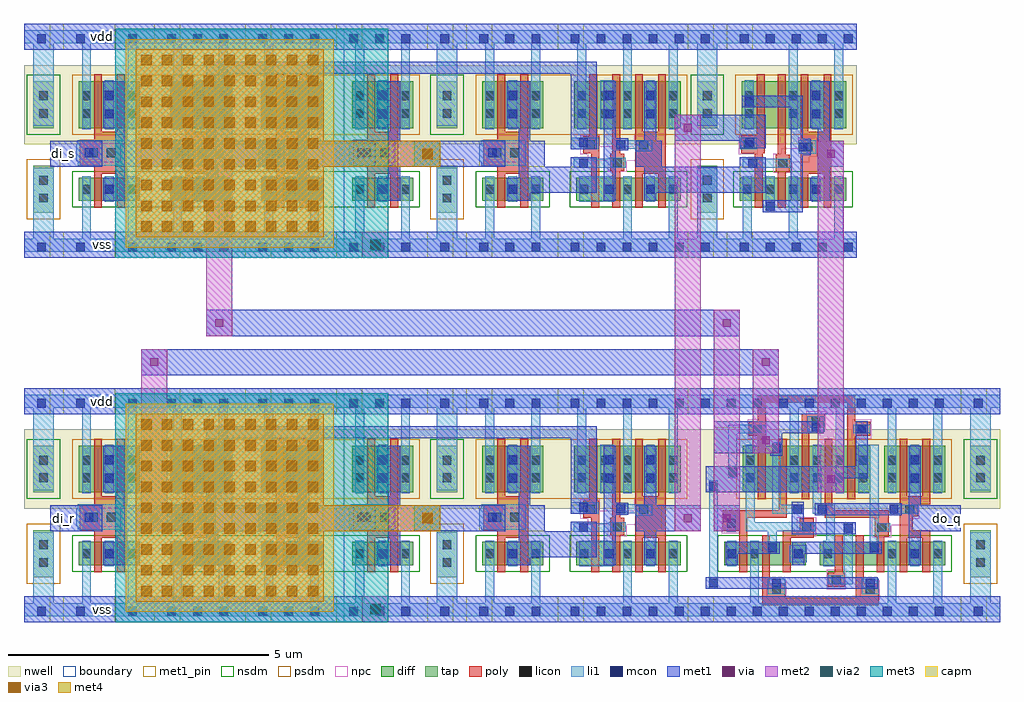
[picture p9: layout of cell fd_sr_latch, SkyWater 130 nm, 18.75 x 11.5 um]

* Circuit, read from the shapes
.subckt fd_sr_latch di_r di_s do_q vdd vss
XM1 sc_dff_r_15/rst_b di_r vss vss sky130_fd_pr__nfet_01v8 w=0.45 l=0.15 m=2
XM2 sc_not_6/x di_s vss vss sky130_fd_pr__nfet_01v8 w=0.45 l=0.15 m=2
XM3 sc_and2_8/a sc_dff_r_15/rst_b vss vss sky130_fd_pr__nfet_01v8 w=0.45 l=0.15 m=2
XM4 sc_and2_2/a sc_not_6/x vss vss sky130_fd_pr__nfet_01v8 w=0.45 l=0.15 m=2
XM5 sc_not_10/x sc_and2_8/a vss vss sky130_fd_pr__nfet_01v8 w=0.45 l=0.15 m=2
XM6 sc_not_4/x sc_and2_2/a vss vss sky130_fd_pr__nfet_01v8 w=0.45 l=0.15 m=2
XM7 sky130_fd_pr__cap_mim_m3_1_fd_sr_latch_c1_1/C1 sc_not_10/x vss vss sky130_fd_pr__nfet_01v8 w=0.45 l=0.15 m=2
XM8 sky130_fd_pr__cap_mim_m3_1_fd_sr_latch_c2_0/C1 sc_not_4/x vss vss sky130_fd_pr__nfet_01v8 w=0.45 l=0.15 m=2
XM9 sc_and2_8/b sky130_fd_pr__cap_mim_m3_1_fd_sr_latch_c1_1/C1 vss vss sky130_fd_pr__nfet_01v8 w=0.45 l=0.15 m=2
XM10 sc_and2_2/b sky130_fd_pr__cap_mim_m3_1_fd_sr_latch_c2_0/C1 vss vss sky130_fd_pr__nfet_01v8 w=0.45 l=0.15 m=2
XM11 sc_and2_8/sky130_fd_pr__nfet_01v8_sc_and2_m4_2/D sc_and2_8/a sc_and2_8/sky130_fd_pr__nfet_01v8_sc_and2_m3_3/D vss sky130_fd_pr__nfet_01v8 w=0.45 l=0.15
XM12 sc_and2_2/sky130_fd_pr__nfet_01v8_sc_and2_m4_2/D sc_and2_2/a sc_and2_2/sky130_fd_pr__nfet_01v8_sc_and2_m3_3/D vss sky130_fd_pr__nfet_01v8 w=0.45 l=0.15
XM13 vss sc_and2_8/b sc_and2_8/sky130_fd_pr__nfet_01v8_sc_and2_m4_2/D vss sky130_fd_pr__nfet_01v8 w=0.45 l=0.15
XM14 vss sc_and2_2/b sc_and2_2/sky130_fd_pr__nfet_01v8_sc_and2_m4_2/D vss sky130_fd_pr__nfet_01v8 w=0.45 l=0.15
XM15 sc_or2_14/a sc_and2_8/sky130_fd_pr__nfet_01v8_sc_and2_m3_3/D vss vss sky130_fd_pr__nfet_01v8 w=0.45 l=0.15 m=2
XM16 sc_or2_14/b sc_and2_2/sky130_fd_pr__nfet_01v8_sc_and2_m3_3/D vss vss sky130_fd_pr__nfet_01v8 w=0.45 l=0.15 m=2
XM17 vss sc_and2_2/a sc_dff_r_15/sky130_fd_pr__nfet_01v8_sc_dff_r_m3_10/D vss sky130_fd_pr__nfet_01v8 w=0.45 l=0.15
XM18 sc_or2_14/sky130_fd_pr__nfet_01v8_sc_or2_m3_3/D sc_or2_14/a vss vss sky130_fd_pr__nfet_01v8 w=0.45 l=0.15
XM19 n1 sc_dff_r_15/clk vss vss sky130_fd_pr__nfet_01v8 w=0.45 l=0.15
XM20 vss sc_or2_14/b sc_or2_14/sky130_fd_pr__nfet_01v8_sc_or2_m3_3/D vss sky130_fd_pr__nfet_01v8 w=0.45 l=0.15
XM21 sc_dff_r_15/sky130_fd_pr__nfet_01v8_sc_dff_r_m5_8/D sc_dff_r_15/sky130_fd_pr__nfet_01v8_sc_dff_r_m3_10/D n1 vss sky130_fd_pr__nfet_01v8 w=0.45 l=0.15
XM22 sc_dff_r_15/clk sc_or2_14/sky130_fd_pr__nfet_01v8_sc_or2_m3_3/D vss vss sky130_fd_pr__nfet_01v8 w=0.45 l=0.15 m=2
XM23 sc_dff_r_15/sky130_fd_pr__nfet_01v8_sc_dff_r_m8_5/D sc_dff_r_15/rst_b sc_dff_r_15/sky130_fd_pr__nfet_01v8_sc_dff_r_m13_0/D vss sky130_fd_pr__nfet_01v8 w=0.45 l=0.15
XM24 sc_dff_r_15/sky130_fd_pr__nfet_01v8_sc_dff_r_m9_4/D sc_dff_r_15/clk sc_dff_r_15/sky130_fd_pr__nfet_01v8_sc_dff_r_m8_5/D vss sky130_fd_pr__nfet_01v8 w=0.45 l=0.15
XM25 vss sc_dff_r_15/sky130_fd_pr__nfet_01v8_sc_dff_r_m5_8/D sc_dff_r_15/sky130_fd_pr__nfet_01v8_sc_dff_r_m9_4/D vss sky130_fd_pr__nfet_01v8 w=0.45 l=0.15
XM26 do_q sc_dff_r_15/sky130_fd_pr__nfet_01v8_sc_dff_r_m13_0/D vss vss sky130_fd_pr__nfet_01v8 w=0.45 l=0.15 m=2
XM27 sc_dff_r_15/rst_b di_r vdd vdd sky130_fd_pr__pfet_01v8 w=0.9 l=0.15 m=2
XM28 sc_not_6/x di_s vdd vdd sky130_fd_pr__pfet_01v8 w=0.9 l=0.15 m=2
XM29 sc_and2_8/a sc_dff_r_15/rst_b vdd vdd sky130_fd_pr__pfet_01v8 w=0.9 l=0.15 m=2
XM30 sc_and2_2/a sc_not_6/x vdd vdd sky130_fd_pr__pfet_01v8 w=0.9 l=0.15 m=2
XM31 sc_not_10/x sc_and2_8/a vdd vdd sky130_fd_pr__pfet_01v8 w=0.9 l=0.15 m=2
XM32 sc_not_4/x sc_and2_2/a vdd vdd sky130_fd_pr__pfet_01v8 w=0.9 l=0.15 m=2
XM33 sky130_fd_pr__cap_mim_m3_1_fd_sr_latch_c1_1/C1 sc_not_10/x vdd vdd sky130_fd_pr__pfet_01v8 w=0.9 l=0.15 m=2
XM34 sky130_fd_pr__cap_mim_m3_1_fd_sr_latch_c2_0/C1 sc_not_4/x vdd vdd sky130_fd_pr__pfet_01v8 w=0.9 l=0.15 m=2
XM35 sc_and2_8/b sky130_fd_pr__cap_mim_m3_1_fd_sr_latch_c1_1/C1 vdd vdd sky130_fd_pr__pfet_01v8 w=0.9 l=0.15 m=2
XM36 sc_and2_2/b sky130_fd_pr__cap_mim_m3_1_fd_sr_latch_c2_0/C1 vdd vdd sky130_fd_pr__pfet_01v8 w=0.9 l=0.15 m=2
XM37 sc_and2_8/sky130_fd_pr__nfet_01v8_sc_and2_m3_3/D sc_and2_8/a vdd vdd sky130_fd_pr__pfet_01v8 w=0.9 l=0.15
XM38 sc_and2_2/sky130_fd_pr__nfet_01v8_sc_and2_m3_3/D sc_and2_2/a vdd vdd sky130_fd_pr__pfet_01v8 w=0.9 l=0.15
XM39 vdd sc_and2_8/b sc_and2_8/sky130_fd_pr__nfet_01v8_sc_and2_m3_3/D vdd sky130_fd_pr__pfet_01v8 w=0.9 l=0.15
XM40 vdd sc_and2_2/b sc_and2_2/sky130_fd_pr__nfet_01v8_sc_and2_m3_3/D vdd sky130_fd_pr__pfet_01v8 w=0.9 l=0.15
XM41 sc_or2_14/a sc_and2_8/sky130_fd_pr__nfet_01v8_sc_and2_m3_3/D vdd vdd sky130_fd_pr__pfet_01v8 w=0.9 l=0.15 m=2
XM42 sc_or2_14/b sc_and2_2/sky130_fd_pr__nfet_01v8_sc_and2_m3_3/D vdd vdd sky130_fd_pr__pfet_01v8 w=0.9 l=0.15 m=2
XM43 sc_or2_14/sky130_fd_pr__pfet_01v8_sc_or2_m1_5/D sc_or2_14/a sc_or2_14/sky130_fd_pr__nfet_01v8_sc_or2_m3_3/D vdd sky130_fd_pr__pfet_01v8 w=0.9 l=0.15
XM44 sc_dff_r_15/sky130_fd_pr__pfet_01v8_sc_dff_r_m1_12/D sc_dff_r_15/clk sc_dff_r_15/sky130_fd_pr__nfet_01v8_sc_dff_r_m3_10/D vdd sky130_fd_pr__pfet_01v8 w=0.9 l=0.15
XM45 vdd sc_or2_14/b sc_or2_14/sky130_fd_pr__pfet_01v8_sc_or2_m1_5/D vdd sky130_fd_pr__pfet_01v8 w=0.9 l=0.15
XM46 vdd sc_and2_2/a sc_dff_r_15/sky130_fd_pr__pfet_01v8_sc_dff_r_m1_12/D vdd sky130_fd_pr__pfet_01v8 w=0.9 l=0.15
XM47 sc_dff_r_15/clk sc_or2_14/sky130_fd_pr__nfet_01v8_sc_or2_m3_3/D vdd vdd sky130_fd_pr__pfet_01v8 w=0.9 l=0.15 m=2
XM48 sc_dff_r_15/sky130_fd_pr__nfet_01v8_sc_dff_r_m13_0/D sc_dff_r_15/rst_b vdd vdd sky130_fd_pr__pfet_01v8 w=0.9 l=0.15
XM49 vdd sc_dff_r_15/sky130_fd_pr__nfet_01v8_sc_dff_r_m5_8/D sc_dff_r_15/sky130_fd_pr__nfet_01v8_sc_dff_r_m13_0/D vdd sky130_fd_pr__pfet_01v8 w=0.9 l=0.15
XM50 sc_dff_r_15/sky130_fd_pr__nfet_01v8_sc_dff_r_m5_8/D sc_dff_r_15/clk vdd vdd sky130_fd_pr__pfet_01v8 w=0.9 l=0.15
XM51 do_q sc_dff_r_15/sky130_fd_pr__nfet_01v8_sc_dff_r_m13_0/D vdd vdd sky130_fd_pr__pfet_01v8 w=0.9 l=0.15 m=2
XC52 sky130_fd_pr__cap_mim_m3_1_fd_sr_latch_c1_1/C1 vss sky130_fd_pr__cap_mim_m3_1 w=4 l=4
XC53 sky130_fd_pr__cap_mim_m3_1_fd_sr_latch_c2_0/C1 vss sky130_fd_pr__cap_mim_m3_1 w=4 l=4
.ends

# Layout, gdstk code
from math import pi, radians
import gdstk
lib = gdstk.Library(unit=1e-6, precision=1e-09)
def R(c, l, rs):  # rectangles x0, y0, x1, y1
    for r in rs: c.add(gdstk.rectangle(r[:2], r[2:], *l))
def A(c, l, x, y, w, h, nx, ny, dx, dy):  # array of equal rectangles
    R(c, l, [(x+i*dx, y+j*dy, x+i*dx+w, y+j*dy+h) for i in range(nx) for j in range(ny)])
nwell = (64, 20)
diff = (65, 20)
tap = (65, 44)
poly = (66, 20)
licon = (66, 44)
li1 = (67, 20)
mcon = (67, 44)
met1_pin = (68, 16)
met1 = (68, 20)
via = (68, 44)
met2 = (69, 20)
via2 = (69, 44)
met3 = (70, 20)
via3 = (70, 44)
met4 = (71, 20)
capm = (89, 44)
nsdm = (93, 44)
psdm = (94, 20)
npc = (95, 20)
boundary = (235, 4)

sky130_fd_pr__cap_mim_m3 = lib.new_cell('sky130_fd_pr__cap_mim_m3_1_fd_sr_latch_c2')
R(sky130_fd_pr__cap_mim_m3, met3, [(-3.08,-2.2,2.17,2.2)])
A(sky130_fd_pr__cap_mim_m3, via3, -2.58, -1.7, 0.2, 0.2, 9, 9, 0.4, 0.4)
R(sky130_fd_pr__cap_mim_m3, met4, [(-2.685,-1.805,0.925,1.805)])
R(sky130_fd_pr__cap_mim_m3, capm, [(-2.88,-2,1.12,2)])
R(sky130_fd_pr__cap_mim_m3, boundary, [(-3.08,-2.2,1.32,2.2)])
sky130_fd_pr__cap_mim_m3.add(gdstk.Label('C1', (-0.88,0), layer=71, texttype=5))

c_sky130_fd_pr__cap_mim_m3 = lib.new_cell('sky130_fd_pr__cap_mim_m3_1_fd_sr_latch_c1')
R(c_sky130_fd_pr__cap_mim_m3, met3, [(-3.08,-2.2,2.17,2.2)])
A(c_sky130_fd_pr__cap_mim_m3, via3, -2.58, -1.7, 0.2, 0.2, 9, 9, 0.4, 0.4)
R(c_sky130_fd_pr__cap_mim_m3, met4, [(-2.685,-1.805,0.925,1.805)])
R(c_sky130_fd_pr__cap_mim_m3, capm, [(-2.88,-2,1.12,2)])
R(c_sky130_fd_pr__cap_mim_m3, boundary, [(-3.08,-2.2,1.32,2.2)])
c_sky130_fd_pr__cap_mim_m3.add(gdstk.Label('C1', (-0.88,0), layer=71, texttype=5))

sky130_fd_pr__nfet_01v8_ = lib.new_cell('sky130_fd_pr__nfet_01v8_scc_inv_m2')
R(sky130_fd_pr__nfet_01v8_, diff, [(7.265,-4.22,8.435,-3.77)])
R(sky130_fd_pr__nfet_01v8_, poly, [(7.555,-4.35,7.705,-3.695), (7.995,-4.35,8.145,-3.695), (7.555,-3.695,8.145,-3.545)])
A(sky130_fd_pr__nfet_01v8_, licon, 7.325, -4.08, 0.17, 0.17, 3, 1, 0.44, 0)
A(sky130_fd_pr__nfet_01v8_, li1, 7.325, -4.24, 0.17, 0.49, 3, 1, 0.44, 0)
R(sky130_fd_pr__nfet_01v8_, mcon, [(7.765,-4.08,7.935,-3.91)])
R(sky130_fd_pr__nfet_01v8_, met1, [(7.735,-4.22,7.965,-3.77)])
R(sky130_fd_pr__nfet_01v8_, nsdm, [(7.14,-4.345,8.56,-3.645)])
sky130_fd_pr__nfet_01v8_.add(gdstk.Label('D0', (7.85,-3.995), layer=67, texttype=5))
sky130_fd_pr__nfet_01v8_.add(gdstk.Label('S0', (7.41,-3.995), layer=67, texttype=5))
sky130_fd_pr__nfet_01v8_.add(gdstk.Label('D1', (7.85,-3.995), layer=67, texttype=5))
sky130_fd_pr__nfet_01v8_.add(gdstk.Label('S1', (8.29,-3.995), layer=67, texttype=5))

sky130_fd_pr__pfet_01v8_ = lib.new_cell('sky130_fd_pr__pfet_01v8_scc_inv_m1')
R(sky130_fd_pr__pfet_01v8_, nwell, [(6.85,-4.65,8.38,-3.13)])
R(sky130_fd_pr__pfet_01v8_, diff, [(7.03,-4.34,8.2,-3.44)])
R(sky130_fd_pr__pfet_01v8_, poly, [(7.32,-4.565,7.91,-4.415), (7.32,-4.415,7.47,-3.31), (7.76,-4.415,7.91,-3.31)])
A(sky130_fd_pr__pfet_01v8_, licon, 7.09, -4.145, 0.17, 0.17, 3, 2, 0.44, 0.34)
A(sky130_fd_pr__pfet_01v8_, li1, 7.09, -4.36, 0.17, 0.94, 3, 1, 0.44, 0)
R(sky130_fd_pr__pfet_01v8_, mcon, [(7.53,-4.155,7.7,-3.985), (7.53,-3.795,7.7,-3.625)])
R(sky130_fd_pr__pfet_01v8_, met1, [(7.5,-4.34,7.73,-3.44)])
R(sky130_fd_pr__pfet_01v8_, psdm, [(6.905,-4.465,8.325,-3.315)])
sky130_fd_pr__pfet_01v8_.add(gdstk.Label('D0', (7.615,-3.89), layer=67, texttype=5))
sky130_fd_pr__pfet_01v8_.add(gdstk.Label('S0', (7.175,-3.89), layer=67, texttype=5))
sky130_fd_pr__pfet_01v8_.add(gdstk.Label('D1', (7.615,-3.89), layer=67, texttype=5))
sky130_fd_pr__pfet_01v8_.add(gdstk.Label('S1', (8.055,-3.89), layer=67, texttype=5))

c_sky130_fd_pr__nfet_01v8_ = lib.new_cell('sky130_fd_pr__nfet_01v8_sc_and2_m4')
R(c_sky130_fd_pr__nfet_01v8_, diff, [(-0.325,-0.225,0.365,0.225)])
R(c_sky130_fd_pr__nfet_01v8_, poly, [(-0.075,-0.355,0.075,0.355)])
R(c_sky130_fd_pr__nfet_01v8_, licon, [(0.135,-0.085,0.305,0.085)])
R(c_sky130_fd_pr__nfet_01v8_, li1, [(0.135,-0.245,0.305,0.245)])
R(c_sky130_fd_pr__nfet_01v8_, nsdm, [(-0.45,-0.35,0.49,0.35)])
c_sky130_fd_pr__nfet_01v8_.add(gdstk.Label('D', (-0.22,0), layer=65, texttype=6))
c_sky130_fd_pr__nfet_01v8_.add(gdstk.Label('S', (0.22,0), layer=67, texttype=5))

c_sky130_fd_pr__nfet_01v8__ = lib.new_cell('sky130_fd_pr__nfet_01v8_sc_and2_m3')
R(c_sky130_fd_pr__nfet_01v8__, diff, [(-0.365,-0.225,0.325,0.225)])
R(c_sky130_fd_pr__nfet_01v8__, poly, [(-0.075,-0.355,0.075,0.355)])
R(c_sky130_fd_pr__nfet_01v8__, licon, [(-0.305,-0.085,-0.135,0.085)])
R(c_sky130_fd_pr__nfet_01v8__, li1, [(-0.305,-0.245,-0.135,0.245)])
R(c_sky130_fd_pr__nfet_01v8__, nsdm, [(-0.49,-0.35,0.45,0.35)])
c_sky130_fd_pr__nfet_01v8__.add(gdstk.Label('D', (-0.22,0), layer=67, texttype=5))
c_sky130_fd_pr__nfet_01v8__.add(gdstk.Label('S', (0.22,0), layer=65, texttype=6))

c_sky130_fd_pr__pfet_01v8_ = lib.new_cell('sky130_fd_pr__pfet_01v8_sc_and2_m2')
R(c_sky130_fd_pr__pfet_01v8_, nwell, [(-0.545,-0.76,0.545,0.76)])
R(c_sky130_fd_pr__pfet_01v8_, diff, [(-0.365,-0.45,0.365,0.45)])
R(c_sky130_fd_pr__pfet_01v8_, poly, [(-0.075,-0.58,0.075,0.58)])
R(c_sky130_fd_pr__pfet_01v8_, licon, [(-0.305,-0.255,-0.135,-0.085), (0.135,-0.255,0.305,-0.085), (-0.305,0.085,-0.135,0.255), (0.135,0.085,0.305,0.255)])
R(c_sky130_fd_pr__pfet_01v8_, li1, [(-0.305,-0.47,-0.135,0.47), (0.135,-0.47,0.305,0.47)])
R(c_sky130_fd_pr__pfet_01v8_, psdm, [(-0.49,-0.575,0.49,0.575)])
c_sky130_fd_pr__pfet_01v8_.add(gdstk.Label('D', (-0.22,0), layer=67, texttype=5))
c_sky130_fd_pr__pfet_01v8_.add(gdstk.Label('S', (0.22,0), layer=67, texttype=5))

c_sky130_fd_pr__pfet_01v8__ = lib.new_cell('sky130_fd_pr__pfet_01v8_sc_and2_m1')
R(c_sky130_fd_pr__pfet_01v8__, nwell, [(-0.545,-0.76,0.545,0.76)])
R(c_sky130_fd_pr__pfet_01v8__, diff, [(-0.365,-0.45,0.365,0.45)])
R(c_sky130_fd_pr__pfet_01v8__, poly, [(-0.075,-0.58,0.075,0.58)])
R(c_sky130_fd_pr__pfet_01v8__, licon, [(-0.305,-0.255,-0.135,-0.085), (0.135,-0.255,0.305,-0.085), (-0.305,0.085,-0.135,0.255), (0.135,0.085,0.305,0.255)])
R(c_sky130_fd_pr__pfet_01v8__, li1, [(-0.305,-0.47,-0.135,0.47), (0.135,-0.47,0.305,0.47)])
R(c_sky130_fd_pr__pfet_01v8__, psdm, [(-0.49,-0.575,0.49,0.575)])
c_sky130_fd_pr__pfet_01v8__.add(gdstk.Label('D', (-0.22,0), layer=67, texttype=5))
c_sky130_fd_pr__pfet_01v8__.add(gdstk.Label('S', (0.22,0), layer=67, texttype=5))

sc_and2 = lib.new_cell('sc_and2')
R(sc_and2, nwell, [(4.5,-5.815,7,-4.295)])
R(sc_and2, poly, [(5.15,-6.325,5.3,-5.99), (5.51,-6.325,5.78,-5.995), (5.99,-6.23,6.58,-5.73), (5.55,-5.995,5.7,-5.635), (4.99,-5.99,5.3,-5.66), (5.11,-5.66,5.26,-5.635)])
R(sc_and2, licon, [(5.56,-6.245,5.73,-6.075), (5.04,-5.91,5.21,-5.74), (6.07,-5.91,6.24,-5.74)])
A(sc_and2, li1, 4.88, -4.585, 0.17, 0.71, 3, 1, 0.88, 0)
R(sc_and2, li1, [(4.5,-7.885,7,-7.635), (5.76,-7.635,5.93,-6.925), (6.64,-7.635,6.81,-6.925), (5.09,-6.925,5.59,-6.435), (4.81,-6.265,5.81,-6.095), (5.48,-6.095,5.81,-6.075), (5.99,-5.95,6.32,-5.905), (4.75,-5.91,5.29,-5.695), (5.63,-5.905,6.32,-5.735), (5.49,-5.525,5.59,-5.445), (5.42,-5.445,5.59,-4.665), (5.49,-4.665,5.59,-4.585), (4.5,-3.875,7,-3.625)])
A(sc_and2, mcon, 4.75, -7.875, 0.17, 0.17, 5, 2, 0.5, 4)
R(sc_and2, mcon, [(5.42,-6.765,5.59,-6.595), (4.915,-6.265,5.085,-6.095), (5.63,-5.905,5.8,-5.735), (4.915,-5.875,5.085,-5.705), (5.42,-5.32,5.59,-5.15), (5.42,-4.96,5.59,-4.79)])
R(sc_and2, met1_pin, [(4.5,-8,5,-7.5), (4.75,-6.75,5.25,-6.25), (6,-6.25,6.5,-5.75), (4.75,-5.75,5.25,-5.25), (4.5,-4,5,-3.5)])
R(sc_and2, met1, [(4.5,-8,7,-7.5), (5.39,-6.905,5.62,-5.935), (4.75,-6.75,5.25,-6.065), (6.17,-6.455,6.4,-6.25), (6,-6.25,6.5,-5.75), (5.39,-5.935,5.86,-5.705), (4.75,-5.91,5.25,-5.25), (6.17,-5.75,6.4,-5.505), (5.39,-5.705,5.62,-4.605), (4.5,-4,7,-3.5)])
R(sc_and2, npc, [(5.46,-6.345,5.83,-6.13), (5.085,-6.13,6.195,-6.01), (4.94,-6.01,6.34,-5.855), (4.94,-5.855,5.31,-5.64), (5.97,-5.855,6.34,-5.64)])
sc_and2.add(gdstk.Reference(sky130_fd_pr__nfet_01v8_, (-1.565,-2.685)))
sc_and2.add(gdstk.Reference(sky130_fd_pr__pfet_01v8_, (-1.33,-1.165)))
sc_and2.add(gdstk.Reference(c_sky130_fd_pr__nfet_01v8_, (5.625,-6.68)))
sc_and2.add(gdstk.Reference(c_sky130_fd_pr__nfet_01v8__, (5.225,-6.68)))
sc_and2.add(gdstk.Reference(c_sky130_fd_pr__pfet_01v8_, (5.625,-5.055)))
sc_and2.add(gdstk.Reference(c_sky130_fd_pr__pfet_01v8__, (5.185,-5.055), rotation=pi))
sc_and2.add(gdstk.Label('a', (5,-5.5), layer=68, texttype=5))
sc_and2.add(gdstk.Label('b', (5,-6.5), layer=68, texttype=5))
sc_and2.add(gdstk.Label('y', (6.25,-6), layer=68, texttype=5))
sc_and2.add(gdstk.Label('vdd', (4.75,-3.75), layer=68, texttype=5))
sc_and2.add(gdstk.Label('vss', (4.75,-7.75), layer=68, texttype=5))

sc_not = lib.new_cell('sc_not')
R(sc_not, nwell, [(2.75,-3.815,4.5,-2.295)])
R(sc_not, poly, [(3.075,-4.23,3.935,-3.73)])
R(sc_not, licon, [(3.25,-4.065,3.42,-3.895), (3.59,-4.065,3.76,-3.895)])
R(sc_not, li1, [(2.75,-5.885,4.5,-5.635), (3.115,-5.635,3.285,-4.925), (3.995,-5.635,4.165,-4.925), (3.03,-4.225,3.885,-4.145), (3,-4.145,3.885,-3.815), (3.03,-3.815,3.885,-3.735), (3.115,-2.585,3.285,-1.875), (3.995,-2.585,4.165,-1.875), (2.75,-1.875,4.5,-1.625)])
A(sc_not, mcon, 3, -5.875, 0.17, 0.17, 3, 2, 0.5, 4)
R(sc_not, mcon, [(3.165,-4.065,3.335,-3.895)])
R(sc_not, met1_pin, [(2.75,-6,3.25,-5.5), (3,-4.25,3.5,-3.75), (3.75,-4.25,4.25,-3.75), (2.75,-2,3.25,-1.5)])
R(sc_not, met1, [(2.75,-6,4.5,-5.5), (3.75,-4.905,3.98,-4.25), (3,-4.25,3.5,-3.75), (3.75,-4.25,4.25,-3.75), (3.75,-3.75,3.98,-2.605), (2.75,-2,4.5,-1.5)])
R(sc_not, npc, [(3.15,-4.165,3.86,-3.795)])
sc_not.add(gdstk.Reference(sky130_fd_pr__pfet_01v8_, (-3.975,0.835)))
sc_not.add(gdstk.Reference(sky130_fd_pr__nfet_01v8_, (-4.21,-0.685)))
sc_not.add(gdstk.Label('vdd', (3,-1.75), layer=68, texttype=5))
sc_not.add(gdstk.Label('vss', (3,-5.75), layer=68, texttype=5))
sc_not.add(gdstk.Label('x', (3.25,-4), layer=68, texttype=5))
sc_not.add(gdstk.Label('y', (4,-4), layer=68, texttype=5))

c_sky130_fd_pr__nfet_01v8___ = lib.new_cell('sky130_fd_pr__nfet_01v8_sc_or2_m4')
R(c_sky130_fd_pr__nfet_01v8___, diff, [(-0.365,-0.225,0.365,0.225)])
R(c_sky130_fd_pr__nfet_01v8___, poly, [(-0.075,-0.355,0.075,0.355)])
R(c_sky130_fd_pr__nfet_01v8___, licon, [(-0.305,-0.085,-0.135,0.085), (0.135,-0.085,0.305,0.085)])
R(c_sky130_fd_pr__nfet_01v8___, li1, [(-0.305,-0.245,-0.135,0.245), (0.135,-0.245,0.305,0.245)])
R(c_sky130_fd_pr__nfet_01v8___, nsdm, [(-0.49,-0.35,0.49,0.35)])
c_sky130_fd_pr__nfet_01v8___.add(gdstk.Label('D', (-0.22,0), layer=67, texttype=5))
c_sky130_fd_pr__nfet_01v8___.add(gdstk.Label('S', (0.22,0), layer=67, texttype=5))

c_sky130_fd_pr__nfet_01v8____ = lib.new_cell('sky130_fd_pr__nfet_01v8_sc_or2_m3')
R(c_sky130_fd_pr__nfet_01v8____, diff, [(-0.365,-0.225,0.365,0.225)])
R(c_sky130_fd_pr__nfet_01v8____, poly, [(-0.075,-0.355,0.075,0.355)])
R(c_sky130_fd_pr__nfet_01v8____, licon, [(-0.305,-0.085,-0.135,0.085), (0.135,-0.085,0.305,0.085)])
R(c_sky130_fd_pr__nfet_01v8____, li1, [(-0.305,-0.245,-0.135,0.245), (0.135,-0.245,0.305,0.245)])
R(c_sky130_fd_pr__nfet_01v8____, nsdm, [(-0.49,-0.35,0.49,0.35)])
c_sky130_fd_pr__nfet_01v8____.add(gdstk.Label('D', (-0.22,0), layer=67, texttype=5))
c_sky130_fd_pr__nfet_01v8____.add(gdstk.Label('S', (0.22,0), layer=67, texttype=5))

c_sky130_fd_pr__pfet_01v8___ = lib.new_cell('sky130_fd_pr__pfet_01v8_sc_or2_m2')
R(c_sky130_fd_pr__pfet_01v8___, nwell, [(-0.545,-0.76,0.505,0.76)])
R(c_sky130_fd_pr__pfet_01v8___, diff, [(-0.365,-0.45,0.325,0.45)])
R(c_sky130_fd_pr__pfet_01v8___, poly, [(-0.075,-0.58,0.075,0.58)])
R(c_sky130_fd_pr__pfet_01v8___, licon, [(-0.305,-0.255,-0.135,-0.085), (-0.305,0.085,-0.135,0.255)])
R(c_sky130_fd_pr__pfet_01v8___, li1, [(-0.305,-0.47,-0.135,0.47)])
R(c_sky130_fd_pr__pfet_01v8___, psdm, [(-0.49,-0.575,0.45,0.575)])
c_sky130_fd_pr__pfet_01v8___.add(gdstk.Label('D', (-0.22,0), layer=67, texttype=5))
c_sky130_fd_pr__pfet_01v8___.add(gdstk.Label('S', (0.22,0), layer=65, texttype=6))

c_sky130_fd_pr__pfet_01v8____ = lib.new_cell('sky130_fd_pr__pfet_01v8_sc_or2_m1')
R(c_sky130_fd_pr__pfet_01v8____, nwell, [(-0.505,-0.76,0.545,0.76)])
R(c_sky130_fd_pr__pfet_01v8____, diff, [(-0.325,-0.45,0.365,0.45)])
R(c_sky130_fd_pr__pfet_01v8____, poly, [(-0.075,-0.58,0.075,0.58)])
R(c_sky130_fd_pr__pfet_01v8____, licon, [(0.135,-0.255,0.305,-0.085), (0.135,0.085,0.305,0.255)])
R(c_sky130_fd_pr__pfet_01v8____, li1, [(0.135,-0.47,0.305,0.47)])
R(c_sky130_fd_pr__pfet_01v8____, psdm, [(-0.45,-0.575,0.49,0.575)])
c_sky130_fd_pr__pfet_01v8____.add(gdstk.Label('D', (-0.22,0), layer=65, texttype=6))
c_sky130_fd_pr__pfet_01v8____.add(gdstk.Label('S', (0.22,0), layer=67, texttype=5))

sc_or2 = lib.new_cell('sc_or2')
R(sc_or2, nwell, [(2.75,-5.815,5.25,-4.295)])
R(sc_or2, poly, [(3.69,-6.345,3.96,-6.015), (3.29,-6.325,3.44,-5.99), (4.17,-6.23,4.76,-5.73), (3.73,-6.015,3.88,-5.635), (3.03,-5.99,3.48,-5.635), (4.17,-5.73,4.44,-5.66)])
R(sc_or2, licon, [(3.74,-6.265,3.91,-6.095), (4.22,-5.955,4.39,-5.785), (3.08,-5.91,3.25,-5.74)])
A(sc_or2, li1, 3.06, -7.635, 0.17, 0.71, 3, 1, 0.88, 0)
R(sc_or2, li1, [(2.75,-7.885,5.25,-7.635), (3.5,-7.09,3.67,-6.92), (3.06,-6.265,3.99,-6.095), (4.13,-5.995,4.47,-5.74), (3,-5.91,3.33,-5.695), (3.1,-5.08,3.27,-4.91), (3.94,-4.585,4.11,-3.875), (4.82,-4.585,4.99,-3.875), (2.75,-3.875,5.25,-3.625)])
A(sc_or2, mcon, 3, -7.875, 0.17, 0.17, 5, 2, 0.5, 4)
R(sc_or2, mcon, [(3.5,-7.09,3.67,-6.92), (3.165,-6.265,3.335,-6.095), (4.13,-5.955,4.3,-5.785), (3.11,-5.865,3.28,-5.695), (3.1,-5.08,3.27,-4.91)])
R(sc_or2, met1_pin, [(2.75,-8,3.25,-7.5), (3,-6.75,3.5,-6.25), (4.5,-6.25,5,-5.75), (3,-5.75,3.5,-5.25), (2.75,-4,3.25,-3.5)])
R(sc_or2, met1, [(2.75,-8,5.25,-7.5), (3.44,-7.12,4.21,-6.89), (4.5,-6.905,4.73,-6.25), (3.98,-6.89,4.21,-6.025), (3,-6.75,3.5,-6.065), (4.5,-6.25,5,-5.75), (3.98,-6.025,4.36,-5.71), (3,-5.895,3.5,-5.25), (4.5,-5.75,4.73,-4.605), (3.98,-5.71,4.21,-5.11), (3.04,-5.11,4.21,-4.88), (2.75,-4,5.25,-3.5)])
R(sc_or2, npc, [(3.64,-6.365,4.01,-6.16), (3.64,-6.16,4.335,-6.055), (3.64,-6.055,4.49,-5.995), (2.98,-6.01,3.35,-5.64), (3.795,-5.995,4.49,-5.89), (4.12,-5.89,4.49,-5.685)])
sc_or2.add(gdstk.Reference(sky130_fd_pr__nfet_01v8_, (-3.385,-2.685)))
sc_or2.add(gdstk.Reference(sky130_fd_pr__pfet_01v8_, (-3.15,-1.165)))
sc_or2.add(gdstk.Reference(c_sky130_fd_pr__nfet_01v8___, (3.805,-6.68)))
sc_or2.add(gdstk.Reference(c_sky130_fd_pr__nfet_01v8____, (3.365,-6.68), rotation=pi))
sc_or2.add(gdstk.Reference(c_sky130_fd_pr__pfet_01v8___, (3.405,-5.055)))
sc_or2.add(gdstk.Reference(c_sky130_fd_pr__pfet_01v8____, (3.805,-5.055)))
sc_or2.add(gdstk.Label('vdd', (3,-3.75), layer=68, texttype=5))
sc_or2.add(gdstk.Label('vss', (3,-7.75), layer=68, texttype=5))
sc_or2.add(gdstk.Label('a', (3.25,-5.5), layer=68, texttype=5))
sc_or2.add(gdstk.Label('b', (3.25,-6.5), layer=68, texttype=5))
sc_or2.add(gdstk.Label('y', (4.75,-6), layer=68, texttype=5))

c_sky130_fd_pr__nfet_01v8_____ = lib.new_cell('sky130_fd_pr__nfet_01v8_sc_dff_r_m13')
R(c_sky130_fd_pr__nfet_01v8_____, diff, [(-0.365,-0.225,0.325,0.225)])
R(c_sky130_fd_pr__nfet_01v8_____, poly, [(-0.075,-0.355,0.075,0.355)])
R(c_sky130_fd_pr__nfet_01v8_____, licon, [(-0.305,-0.085,-0.135,0.085)])
R(c_sky130_fd_pr__nfet_01v8_____, li1, [(-0.305,-0.245,-0.135,0.245)])
R(c_sky130_fd_pr__nfet_01v8_____, nsdm, [(-0.49,-0.35,0.45,0.35)])
c_sky130_fd_pr__nfet_01v8_____.add(gdstk.Label('D', (-0.22,0), layer=67, texttype=5))
c_sky130_fd_pr__nfet_01v8_____.add(gdstk.Label('S', (0.22,0), layer=65, texttype=6))

c_sky130_fd_pr__pfet_01v8_____ = lib.new_cell('sky130_fd_pr__pfet_01v8_sc_dff_r_m12')
R(c_sky130_fd_pr__pfet_01v8_____, nwell, [(-0.545,-0.76,0.545,0.76)])
R(c_sky130_fd_pr__pfet_01v8_____, diff, [(-0.365,-0.45,0.365,0.45)])
R(c_sky130_fd_pr__pfet_01v8_____, poly, [(-0.075,-0.58,0.075,0.58)])
R(c_sky130_fd_pr__pfet_01v8_____, licon, [(-0.305,-0.255,-0.135,-0.085), (0.135,-0.255,0.305,-0.085), (-0.305,0.085,-0.135,0.255), (0.135,0.085,0.305,0.255)])
R(c_sky130_fd_pr__pfet_01v8_____, li1, [(-0.305,-0.47,-0.135,0.47), (0.135,-0.47,0.305,0.47)])
R(c_sky130_fd_pr__pfet_01v8_____, psdm, [(-0.49,-0.575,0.49,0.575)])
c_sky130_fd_pr__pfet_01v8_____.add(gdstk.Label('D', (-0.22,0), layer=67, texttype=5))
c_sky130_fd_pr__pfet_01v8_____.add(gdstk.Label('S', (0.22,0), layer=67, texttype=5))

c_sky130_fd_pr__nfet_01v8______ = lib.new_cell('sky130_fd_pr__nfet_01v8_sc_dff_r_m9')
R(c_sky130_fd_pr__nfet_01v8______, diff, [(-0.325,-0.225,0.365,0.225)])
R(c_sky130_fd_pr__nfet_01v8______, poly, [(-0.075,-0.355,0.075,0.355)])
R(c_sky130_fd_pr__nfet_01v8______, licon, [(0.135,-0.085,0.305,0.085)])
R(c_sky130_fd_pr__nfet_01v8______, li1, [(0.135,-0.245,0.305,0.245)])
R(c_sky130_fd_pr__nfet_01v8______, nsdm, [(-0.45,-0.35,0.49,0.35)])
c_sky130_fd_pr__nfet_01v8______.add(gdstk.Label('D', (-0.22,0), layer=65, texttype=6))
c_sky130_fd_pr__nfet_01v8______.add(gdstk.Label('S', (0.22,0), layer=67, texttype=5))

c_sky130_fd_pr__nfet_01v8_______ = lib.new_cell('sky130_fd_pr__nfet_01v8_sc_dff_r_m8')
R(c_sky130_fd_pr__nfet_01v8_______, diff, [(-0.325,-0.225,0.325,0.225)])
R(c_sky130_fd_pr__nfet_01v8_______, poly, [(-0.075,-0.355,0.075,0.355)])
R(c_sky130_fd_pr__nfet_01v8_______, nsdm, [(-0.45,-0.35,0.45,0.35)])
c_sky130_fd_pr__nfet_01v8_______.add(gdstk.Label('D', (-0.22,0), layer=65, texttype=6))
c_sky130_fd_pr__nfet_01v8_______.add(gdstk.Label('S', (0.22,0), layer=65, texttype=6))

c_sky130_fd_pr__pfet_01v8______ = lib.new_cell('sky130_fd_pr__pfet_01v8_sc_dff_r_m7')
R(c_sky130_fd_pr__pfet_01v8______, nwell, [(-0.545,-0.76,0.545,0.76)])
R(c_sky130_fd_pr__pfet_01v8______, diff, [(-0.365,-0.45,0.365,0.45)])
R(c_sky130_fd_pr__pfet_01v8______, poly, [(-0.075,-0.58,0.075,0.58)])
R(c_sky130_fd_pr__pfet_01v8______, licon, [(-0.305,-0.255,-0.135,-0.085), (0.135,-0.255,0.305,-0.085), (-0.305,0.085,-0.135,0.255), (0.135,0.085,0.305,0.255)])
R(c_sky130_fd_pr__pfet_01v8______, li1, [(-0.305,-0.47,-0.135,0.47), (0.135,-0.47,0.305,0.47)])
R(c_sky130_fd_pr__pfet_01v8______, psdm, [(-0.49,-0.575,0.49,0.575)])
c_sky130_fd_pr__pfet_01v8______.add(gdstk.Label('D', (-0.22,0), layer=67, texttype=5))
c_sky130_fd_pr__pfet_01v8______.add(gdstk.Label('S', (0.22,0), layer=67, texttype=5))

c_sky130_fd_pr__nfet_01v8________ = lib.new_cell('sky130_fd_pr__nfet_01v8_sc_dff_r_m6')
R(c_sky130_fd_pr__nfet_01v8________, diff, [(-0.325,-0.225,0.365,0.225)])
R(c_sky130_fd_pr__nfet_01v8________, poly, [(-0.075,-0.355,0.075,0.355)])
R(c_sky130_fd_pr__nfet_01v8________, licon, [(0.135,-0.085,0.305,0.085)])
R(c_sky130_fd_pr__nfet_01v8________, li1, [(0.135,-0.245,0.305,0.245)])
R(c_sky130_fd_pr__nfet_01v8________, nsdm, [(-0.45,-0.35,0.49,0.35)])
c_sky130_fd_pr__nfet_01v8________.add(gdstk.Label('S', (0.22,0), layer=67, texttype=5))

c_sky130_fd_pr__nfet_01v8_________ = lib.new_cell('sky130_fd_pr__nfet_01v8_sc_dff_r_m5')
R(c_sky130_fd_pr__nfet_01v8_________, diff, [(-0.365,-0.225,0.325,0.225)])
R(c_sky130_fd_pr__nfet_01v8_________, poly, [(-0.075,-0.355,0.075,0.355)])
R(c_sky130_fd_pr__nfet_01v8_________, licon, [(-0.305,-0.085,-0.135,0.085)])
R(c_sky130_fd_pr__nfet_01v8_________, li1, [(-0.385,-0.165,-0.055,0.165)])
R(c_sky130_fd_pr__nfet_01v8_________, mcon, [(-0.305,-0.085,-0.135,0.085)])
R(c_sky130_fd_pr__nfet_01v8_________, met1, [(-0.335,-0.225,-0.105,0.225)])
R(c_sky130_fd_pr__nfet_01v8_________, nsdm, [(-0.49,-0.35,0.45,0.35)])
c_sky130_fd_pr__nfet_01v8_________.add(gdstk.Label('D', (-0.22,0), layer=67, texttype=5))

c_sky130_fd_pr__pfet_01v8_______ = lib.new_cell('sky130_fd_pr__pfet_01v8_sc_dff_r_m4')
R(c_sky130_fd_pr__pfet_01v8_______, nwell, [(-0.545,-0.76,0.545,0.76)])
R(c_sky130_fd_pr__pfet_01v8_______, diff, [(-0.365,-0.45,0.365,0.45)])
R(c_sky130_fd_pr__pfet_01v8_______, poly, [(-0.075,-0.58,0.075,0.58)])
R(c_sky130_fd_pr__pfet_01v8_______, licon, [(-0.305,-0.255,-0.135,-0.085), (0.135,-0.255,0.305,-0.085), (-0.305,0.085,-0.135,0.255), (0.135,0.085,0.305,0.255)])
R(c_sky130_fd_pr__pfet_01v8_______, li1, [(-0.305,-0.47,-0.135,0.47), (0.135,-0.47,0.305,0.47)])
R(c_sky130_fd_pr__pfet_01v8_______, psdm, [(-0.49,-0.575,0.49,0.575)])
c_sky130_fd_pr__pfet_01v8_______.add(gdstk.Label('D', (-0.22,0), layer=67, texttype=5))
c_sky130_fd_pr__pfet_01v8_______.add(gdstk.Label('S', (0.22,0), layer=67, texttype=5))

c_sky130_fd_pr__nfet_01v8__________ = lib.new_cell('sky130_fd_pr__nfet_01v8_sc_dff_r_m3')
R(c_sky130_fd_pr__nfet_01v8__________, diff, [(-0.365,-0.225,0.365,0.225)])
R(c_sky130_fd_pr__nfet_01v8__________, poly, [(-0.075,-0.355,0.075,0.355)])
R(c_sky130_fd_pr__nfet_01v8__________, licon, [(-0.305,-0.085,-0.135,0.085), (0.135,-0.085,0.305,0.085)])
R(c_sky130_fd_pr__nfet_01v8__________, li1, [(-0.305,-0.245,-0.135,0.245), (0.135,-0.245,0.305,0.245)])
R(c_sky130_fd_pr__nfet_01v8__________, mcon, [(-0.305,-0.085,-0.135,0.085)])
R(c_sky130_fd_pr__nfet_01v8__________, met1, [(-0.335,-0.225,-0.105,0.225)])
R(c_sky130_fd_pr__nfet_01v8__________, nsdm, [(-0.49,-0.35,0.49,0.35)])
c_sky130_fd_pr__nfet_01v8__________.add(gdstk.Label('D', (-0.22,0), layer=67, texttype=5))
c_sky130_fd_pr__nfet_01v8__________.add(gdstk.Label('S', (0.22,0), layer=67, texttype=5))

c_sky130_fd_pr__pfet_01v8________ = lib.new_cell('sky130_fd_pr__pfet_01v8_sc_dff_r_m2')
R(c_sky130_fd_pr__pfet_01v8________, nwell, [(-0.545,-0.76,0.505,0.76)])
R(c_sky130_fd_pr__pfet_01v8________, diff, [(-0.365,-0.45,0.325,0.45)])
R(c_sky130_fd_pr__pfet_01v8________, poly, [(-0.075,-0.58,0.075,0.58)])
R(c_sky130_fd_pr__pfet_01v8________, licon, [(-0.305,-0.255,-0.135,-0.085), (-0.305,0.085,-0.135,0.255)])
R(c_sky130_fd_pr__pfet_01v8________, li1, [(-0.305,-0.47,-0.135,0.47)])
R(c_sky130_fd_pr__pfet_01v8________, psdm, [(-0.49,-0.575,0.45,0.575)])
c_sky130_fd_pr__pfet_01v8________.add(gdstk.Label('D', (-0.22,0), layer=67, texttype=5))
c_sky130_fd_pr__pfet_01v8________.add(gdstk.Label('S', (0.22,0), layer=65, texttype=6))

c_sky130_fd_pr__pfet_01v8_________ = lib.new_cell('sky130_fd_pr__pfet_01v8_sc_dff_r_m1')
R(c_sky130_fd_pr__pfet_01v8_________, nwell, [(-0.505,-0.76,0.545,0.76)])
R(c_sky130_fd_pr__pfet_01v8_________, diff, [(-0.325,-0.45,0.365,0.45)])
R(c_sky130_fd_pr__pfet_01v8_________, poly, [(-0.075,-0.58,0.075,0.58)])
R(c_sky130_fd_pr__pfet_01v8_________, licon, [(0.135,-0.255,0.305,-0.085), (0.135,0.085,0.305,0.255)])
R(c_sky130_fd_pr__pfet_01v8_________, li1, [(0.135,-0.47,0.305,0.47)])
R(c_sky130_fd_pr__pfet_01v8_________, psdm, [(-0.45,-0.575,0.49,0.575)])
c_sky130_fd_pr__pfet_01v8_________.add(gdstk.Label('D', (-0.22,0), layer=65, texttype=6))
c_sky130_fd_pr__pfet_01v8_________.add(gdstk.Label('S', (0.22,0), layer=67, texttype=5))

sc_dff_r = lib.new_cell('sc_dff_r')
R(sc_dff_r, nwell, [(3.75,-7.815,9,-6.295)])
R(sc_dff_r, poly, [(5.18,-9.675,7.42,-9.525), (5.18,-9.525,5.62,-9.245), (6.98,-9.525,7.42,-9.245), (6.44,-9.315,6.77,-9.045), (5.18,-9.245,5.33,-9.035), (6.98,-9.245,7.13,-9.03), (6.58,-9.045,6.73,-9.035), (5.58,-8.38,6.17,-8.23), (7.34,-8.355,7.61,-7.995), (4.74,-8.325,4.89,-8.235), (4.42,-8.235,4.89,-7.995), (5.9,-8.23,6.17,-8), (7.82,-8.23,8.07,-7.96), (4.42,-7.995,5.65,-7.845), (6.38,-7.995,7.61,-7.845), (7.82,-7.96,8.18,-7.69), (5.5,-7.845,5.65,-7.635), (6.38,-7.845,6.53,-7.635), (5.1,-6.475,5.25,-6.42), (5.94,-6.475,6.09,-6.265), (6.82,-6.475,6.97,-6.42), (4.92,-6.42,5.25,-6.15), (6.82,-6.42,7.26,-6.15), (5.94,-6.265,6.38,-5.995), (5.1,-6.15,5.25,-5.785), (6.82,-6.15,6.97,-5.785), (5.1,-5.785,6.97,-5.635)])
R(sc_dff_r, licon, [(5.37,-9.465,5.54,-9.295), (7.17,-9.465,7.34,-9.295), (6.52,-9.265,6.69,-9.095), (7.39,-8.265,7.56,-8.095), (5.95,-8.25,6.12,-8.08), (4.5,-8.185,4.67,-8.015), (7.93,-7.91,8.1,-7.74), (5,-6.37,5.17,-6.2), (7.01,-6.37,7.18,-6.2), (6.13,-6.215,6.3,-6.045)])
R(sc_dff_r, li1, [(3.75,-9.885,9,-9.635), (4.95,-9.635,5.12,-8.925), (7.59,-9.635,7.76,-8.925), (8.47,-9.635,8.64,-8.925), (5.29,-9.465,5.62,-9.16), (7.09,-9.465,7.42,-9.16), (4.16,-9.36,4.33,-7.27), (6.44,-9.265,6.92,-9.095), (6.75,-9.095,6.92,-8.08), (6.41,-8.925,6.58,-7.91), (5.29,-8.685,5.46,-8.25), (7.25,-8.685,7.42,-8.265), (4.5,-8.265,4.67,-7.935), (7.25,-8.265,7.64,-8.095), (4.87,-8.25,6.2,-8.08), (7.25,-8.095,7.42,-7.525), (4.87,-8.08,5.04,-7.525), (5.37,-7.91,5.98,-7.74), (6.15,-7.91,6.58,-7.74), (7.63,-7.91,8.18,-7.74), (5.37,-7.74,5.54,-6.54), (6.15,-7.74,6.32,-7.525), (7.2,-7.525,7.42,-6.585), (4.53,-7.23,4.7,-6.37), (5.71,-6.585,5.88,-5.875), (6.59,-6.585,6.76,-5.875), (7.59,-6.585,7.76,-5.875), (8.47,-6.585,8.64,-5.875), (4.53,-6.37,5.25,-6.2), (6.93,-6.37,7.26,-6.2), (6.05,-6.34,6.38,-6.045), (3.75,-5.875,9,-5.625)])
A(sc_dff_r, mcon, 4, -9.875, 0.17, 0.17, 10, 2, 0.5, 4)
R(sc_dff_r, mcon, [(4.16,-9.33,4.33,-9.16), (5.37,-9.33,5.54,-9.16), (7.17,-9.33,7.34,-9.16), (5.29,-8.655,5.46,-8.485), (7.25,-8.655,7.42,-8.485), (6.75,-8.28,6.92,-8.11), (4.5,-8.185,4.67,-8.015), (5.78,-7.91,5.95,-7.74), (6.25,-7.91,6.42,-7.74), (7.63,-7.91,7.8,-7.74), (4.16,-7.47,4.33,-7.3), (4.53,-7.2,4.7,-7.03), (5.37,-6.74,5.54,-6.57), (7.01,-6.37,7.18,-6.2), (6.13,-6.34,6.3,-6.17)])
A(sc_dff_r, met1_pin, 4.25, -8.25, 0.5, 0.5, 1, 3, 0, 0.75)
R(sc_dff_r, met1_pin, [(3.75,-10,4.25,-9.5), (8,-8.25,8.5,-7.75), (3.75,-6,4.25,-5.5)])
R(sc_dff_r, met1, [(3.75,-10,9,-9.5), (4.1,-9.36,7.4,-9.13), (4.71,-8.685,5.52,-8.455), (5.99,-8.685,7.48,-8.455), (8,-8.455,8.23,-8.25), (5.75,-8.31,6.98,-8.08), (4.25,-8.25,4.75,-7.75), (8,-8.25,8.5,-7.75), (5.75,-8.08,5.98,-7.68), (6.19,-7.94,7.86,-7.71), (8,-7.75,8.23,-7.505), (4.1,-7.5,4.75,-7.23), (4.1,-7.23,7.21,-7), (6.98,-7,7.21,-6.14), (5.34,-6.8,5.57,-6.37), (4.25,-6.75,4.75,-6.37), (4.25,-6.37,6.36,-6.14), (3.75,-6,9,-5.5)])
R(sc_dff_r, nsdm, [(6.145,-9.03,6.165,-8.33)])
R(sc_dff_r, psdm, [(7.385,-7.63,7.405,-6.48)])
R(sc_dff_r, npc, [(5.27,-9.565,5.64,-9.195), (7.07,-9.565,7.44,-9.195), (6.42,-9.365,6.79,-8.995), (7.29,-8.365,7.66,-8.14), (5.85,-8.35,6.22,-7.98), (4.4,-8.285,4.77,-7.915), (7.29,-8.14,8.06,-8.01), (7.29,-8.01,8.2,-7.995), (7.43,-7.995,8.2,-7.865), (7.83,-7.865,8.2,-7.64), (4.9,-6.47,5.27,-6.1), (6.91,-6.47,7.28,-6.1), (6.03,-6.315,6.4,-5.945)])
sc_dff_r.add(gdstk.Reference(c_sky130_fd_pr__nfet_01v8_____, (6.655,-8.68)))
sc_dff_r.add(gdstk.Reference(c_sky130_fd_pr__pfet_01v8_____, (6.015,-7.055), rotation=pi))
sc_dff_r.add(gdstk.Reference(sky130_fd_pr__nfet_01v8_, (0.265,-4.685)))
sc_dff_r.add(gdstk.Reference(sky130_fd_pr__pfet_01v8_, (0.5,-3.165)))
sc_dff_r.add(gdstk.Reference(c_sky130_fd_pr__nfet_01v8______, (7.455,-8.68)))
sc_dff_r.add(gdstk.Reference(c_sky130_fd_pr__nfet_01v8_______, (7.055,-8.68)))
sc_dff_r.add(gdstk.Reference(c_sky130_fd_pr__pfet_01v8______, (6.455,-7.055)))
sc_dff_r.add(gdstk.Reference(c_sky130_fd_pr__nfet_01v8________, (5.255,-8.68), rotation=pi))
sc_dff_r.add(gdstk.Reference(c_sky130_fd_pr__nfet_01v8_________, (5.655,-8.68), rotation=pi))
sc_dff_r.add(gdstk.Reference(c_sky130_fd_pr__pfet_01v8_______, (6.895,-7.055), rotation=pi))
sc_dff_r.add(gdstk.Reference(c_sky130_fd_pr__nfet_01v8__________, (4.815,-8.68)))
sc_dff_r.add(gdstk.Reference(c_sky130_fd_pr__pfet_01v8________, (5.175,-7.055)))
sc_dff_r.add(gdstk.Reference(c_sky130_fd_pr__pfet_01v8_________, (5.575,-7.055)))
sc_dff_r.add(gdstk.Label('rst_b', (4.5,-6.5), layer=68, texttype=5))
sc_dff_r.add(gdstk.Label('vdd', (4,-5.75), layer=68, texttype=5))
sc_dff_r.add(gdstk.Label('vss', (4,-9.75), layer=68, texttype=5))
sc_dff_r.add(gdstk.Label('d', (4.5,-8), layer=68, texttype=5))
sc_dff_r.add(gdstk.Label('clk', (4.5,-7.25), layer=68, texttype=5))
sc_dff_r.add(gdstk.Label('q', (8.25,-8), layer=68, texttype=5))

sc_body_conn = lib.new_cell('sc_body_conn')
R(sc_body_conn, nwell, [(-0.75,2.185,0,3.705)])
R(sc_body_conn, tap, [(-0.57,0.87,-0.18,1.77), (-0.57,2.495,-0.18,3.395)])
R(sc_body_conn, licon, [(-0.46,1.065,-0.29,1.235), (-0.46,1.405,-0.29,1.575), (-0.46,2.69,-0.29,2.86), (-0.46,3.03,-0.29,3.2)])
R(sc_body_conn, li1, [(-0.75,0.115,0,0.365), (-0.57,0.365,-0.18,1.73), (-0.57,2.535,-0.18,4.125), (-0.75,4.125,0,4.375)])
R(sc_body_conn, mcon, [(-0.5,0.125,-0.33,0.295), (-0.5,4.125,-0.33,4.295)])
R(sc_body_conn, met1_pin, [(-0.75,0,-0.25,0.5), (-0.75,4,-0.25,4.5)])
R(sc_body_conn, met1, [(-0.75,0,0,0.5), (-0.75,4,0,4.5)])
R(sc_body_conn, nsdm, [(-0.695,2.37,-0.055,3.52)])
R(sc_body_conn, psdm, [(-0.695,0.745,-0.055,1.895)])
sc_body_conn.add(gdstk.Label('vdd', (-0.5,4.25), layer=68, texttype=5))
sc_body_conn.add(gdstk.Label('vss', (-0.5,0.25), layer=68, texttype=5))

fd_sr_latch = lib.new_cell('fd_sr_latch')
R(fd_sr_latch, met1_pin, [(2.5,-8,3,-7.5), (1.75,-6.25,2.25,-5.75), (18.75,-6.25,19.25,-5.75), (2.5,-4,3,-3.5), (2.5,-1,3,-0.5), (1.75,0.75,2.25,1.25), (2.5,3,3,3.5)])
R(fd_sr_latch, met1, [(2.5,-8,3,-7.5), (7.75,-8,8.25,-7.5), (10.75,-8,11.25,-7.5), (10.98,-6.75,11.75,-6.25), (1.75,-6.25,2.75,-5.75), (3.5,-6.25,4,-5.75), (4.75,-6.25,5.75,-5.75), (7,-6.25,7.5,-5.75), (8.75,-6.25,10,-5.75), (13,-6.25,14.25,-5.75), (14.5,-6.25,15,-5.75), (18.25,-6.25,19.25,-5.75), (4.75,-5.75,5.25,-4.465), (14.5,-5.5,17,-5), (11.75,-5.25,12.25,-4.465), (14.5,-4.75,15.75,-4.25), (4.75,-4.465,12.25,-4.235), (2.5,-4,3,-3.5), (11.5,-4,12,-3.5), (3.5,-3.25,15.75,-2.75), (4.75,-2.5,15,-2), (2.5,-1,3,-0.5), (7.75,-1,8.25,-0.5), (10.75,-1,11.25,-0.5), (10.75,0.25,12.25,0.75), (13.25,0.25,15,0.75), (1.75,0.75,2.75,1.25), (3.5,0.75,4,1.25), (4.75,0.75,5.75,1.25), (7,0.75,7.5,1.25), (8.75,0.75,10,1.25), (16.5,0.75,17,1.25), (4.75,1.25,5.25,2.535), (13.75,1.25,15.5,1.75), (11.75,1.75,12.25,2.535), (4.75,2.535,12.25,2.765), (2.5,3,3,3.5), (11.5,3,12,3.5)])
R(fd_sr_latch, via, [(7.925,-7.825,8.075,-7.675), (3.675,-6.075,3.825,-5.925), (8.925,-6.075,9.075,-5.925), (13.925,-6.075,14.075,-5.925), (14.675,-6.075,14.825,-5.925), (16.675,-5.325,16.825,-5.175), (15.425,-4.575,15.575,-4.425), (3.675,-3.075,3.825,-2.925), (15.425,-3.075,15.575,-2.925), (4.925,-2.325,5.075,-2.175), (14.675,-2.325,14.825,-2.175), (7.925,-0.825,8.075,-0.675), (4.925,0.925,5.075,1.075), (8.925,0.925,9.075,1.075), (16.675,0.925,16.825,1.075), (13.925,1.425,14.075,1.575)])
R(fd_sr_latch, met2, [(7.75,-8,8.25,-7.5), (3.5,-6.25,4,-2.75), (8.75,-6.25,9.25,-5.75), (13.75,-6.25,14.25,1.75), (14.5,-6.25,15,-2), (16.5,-5.5,17,1.25), (15.25,-4.75,15.75,-2.75), (4.75,-2.5,5.25,1.25), (7.75,-1,8.25,-0.5), (8.75,0.75,9.25,1.25)])
R(fd_sr_latch, via2, [(7.9,-7.85,8.1,-7.65), (8.9,-6.1,9.1,-5.9), (7.9,-0.85,8.1,-0.65), (8.9,0.9,9.1,1.1)])
R(fd_sr_latch, met3, [(7.75,-8,8.25,-7.5), (8.75,-6.25,9.25,-5.75), (7.75,-1,8.25,-0.5), (8.75,0.75,9.25,1.25)])
R(fd_sr_latch, via3, [(8.9,-6.1,9.1,-5.9), (8.9,0.9,9.1,1.1)])
R(fd_sr_latch, met4, [(6.5,-6.25,9.25,-5.75), (6.5,0.75,9.25,1.25)])
A(fd_sr_latch, nsdm, 3.6, -7.03, 0.33, 0.7, 3, 2, 1.75, 7)
A(fd_sr_latch, psdm, 3.6, -5.63, 0.33, 1.15, 3, 2, 1.75, 7)
R(fd_sr_latch, psdm, [(11.35,-5.63,11.695,-4.48), (11.35,1.37,11.695,2.52)])
fd_sr_latch.add(gdstk.Reference(sky130_fd_pr__cap_mim_m3, (6.08,1.2)))
fd_sr_latch.add(gdstk.Reference(c_sky130_fd_pr__cap_mim_m3, (6.08,-5.8)))
fd_sr_latch.add(gdstk.Reference(sc_and2, (7,7)))
fd_sr_latch.add(gdstk.Reference(sc_not, (7,5)))
fd_sr_latch.add(gdstk.Reference(sc_not, (4.5,5)))
fd_sr_latch.add(gdstk.Reference(sc_not, (2.75,5)))
fd_sr_latch.add(gdstk.Reference(sc_not, (1,5)))
fd_sr_latch.add(gdstk.Reference(sc_not, (-0.75,5)))
fd_sr_latch.add(gdstk.Reference(sc_and2, (7,0)))
fd_sr_latch.add(gdstk.Reference(sc_not, (7,-2)))
fd_sr_latch.add(gdstk.Reference(sc_not, (4.5,-2)))
fd_sr_latch.add(gdstk.Reference(sc_not, (2.75,-2)))
fd_sr_latch.add(gdstk.Reference(sc_not, (1,-2)))
fd_sr_latch.add(gdstk.Reference(sc_not, (-0.75,-2)))
fd_sr_latch.add(gdstk.Reference(sc_or2, (12,7)))
fd_sr_latch.add(gdstk.Reference(sc_dff_r, (10.25,2)))
fd_sr_latch.add(gdstk.Reference(sc_body_conn, (2,-1)))
fd_sr_latch.add(gdstk.Reference(sc_body_conn, (2,-8)))
fd_sr_latch.add(gdstk.Reference(sc_body_conn, (14.75,-1)))
fd_sr_latch.add(gdstk.Reference(sc_body_conn, (20,-8)))
fd_sr_latch.add(gdstk.Reference(sc_body_conn, (9.75,-8)))
fd_sr_latch.add(gdstk.Reference(sc_body_conn, (9.75,-1)))
fd_sr_latch.add(gdstk.Label('vdd', (2.75,-3.75), layer=68, texttype=5))
fd_sr_latch.add(gdstk.Label('vdd', (2.75,3.25), layer=68, texttype=5))
fd_sr_latch.add(gdstk.Label('vss', (2.75,-7.75), layer=68, texttype=5))
fd_sr_latch.add(gdstk.Label('vss', (2.75,-0.75), layer=68, texttype=5))
fd_sr_latch.add(gdstk.Label('di_s', (2,1), layer=68, texttype=5))
fd_sr_latch.add(gdstk.Label('di_r', (2,-6), layer=68, texttype=5))
fd_sr_latch.add(gdstk.Label('do_q', (19,-6), layer=68, texttype=5))

lib.write_gds('fd_sr_latch.gds')
